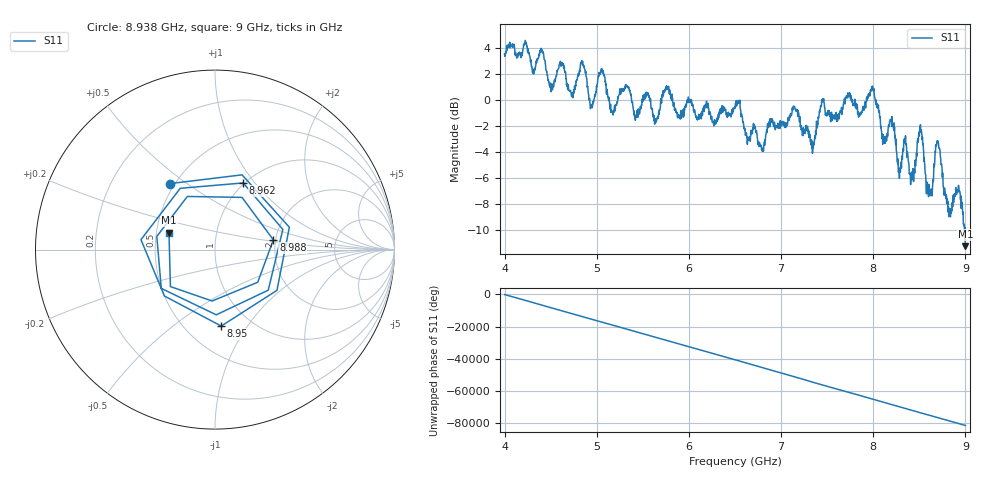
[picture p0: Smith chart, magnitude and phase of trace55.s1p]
! Created with skrf 1.8.0 (http://scikit-rf.org).
# Hz S RI R 50.0
!freq ReS11 ImS11
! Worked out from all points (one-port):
!   1601 points, 4 GHz to 9 GHz, reference 50 ohm
!   lowest |S11| = -11.3 dB at 9 GHz (marker M1), VSWR 1.75, Z = 29.2 + j5.9 ohm
!   |S11| at or under -10 dB: 8.989304 GHz to 8.996484 GHz (7.18 MHz wide, 0.0798 % of centre); 8.997363 GHz to end of sweep
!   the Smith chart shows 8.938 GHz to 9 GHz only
!   S11 on the Smith chart (normalised r, x): 8.938 GHz: 0.47, +0.43; 8.95 GHz: 0.73, -0.77; 8.962 GHz: 0.99, +0.88; 8.988 GHz: 1.94, +0.24; 9 GHz: 0.58, +0.12
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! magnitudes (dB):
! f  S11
! 4 GHz  3.6
! 4.625 GHz  2.9
! 4.725 GHz  0.4
! 4.847 GHz  3.0
! 4.941 GHz  -0.5
! 5.05 GHz  2.4
! 5.162 GHz  -0.9
! 5.25 GHz  0.9
! 5.875 GHz  -1.3
! 6.5 GHz  -0.6
! 6.788 GHz  -3.8
! 7.125 GHz  -0.8
! 7.341 GHz  -4.1
! 7.444 GHz  -0.1
! 7.75 GHz  0.4
! 7.994 GHz  1.0
! 8.112 GHz  -3.0
! 8.375 GHz  -4.3
! 8.428 GHz  -5.8
! 8.516 GHz  -2.5
! 8.616 GHz  -7.3
! 8.7 GHz  -3.2
! 8.822 GHz  -9.0
! 8.938 GHz  -7.0
! 8.95 GHz  -7.4
! 8.962 GHz  -7.9
! 8.988 GHz  -9.6
! 9 GHz  -11.3
